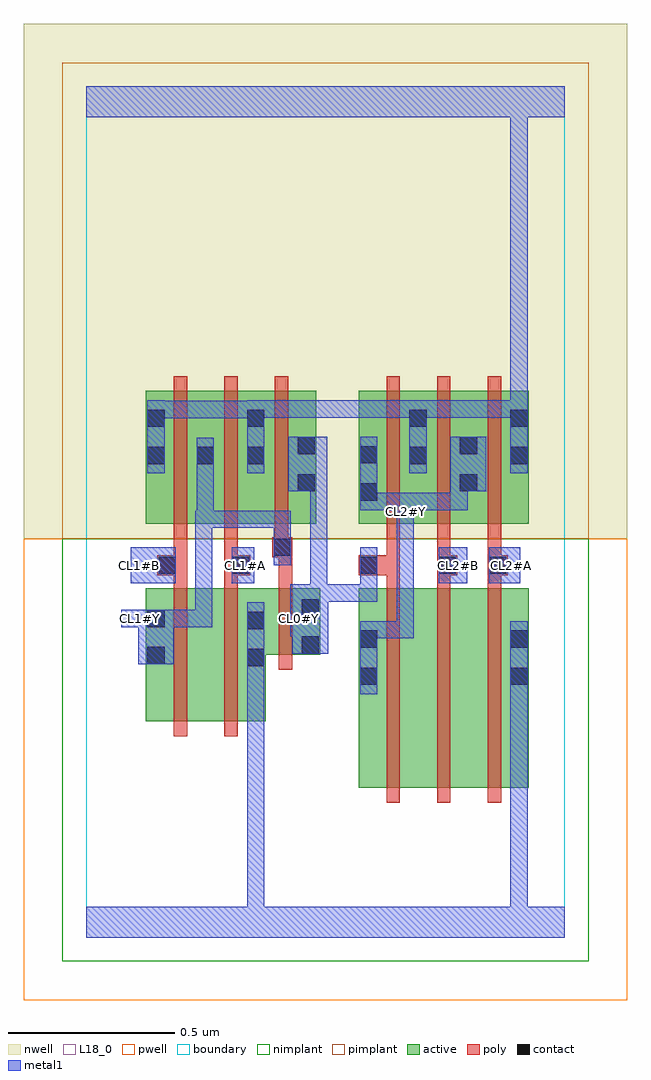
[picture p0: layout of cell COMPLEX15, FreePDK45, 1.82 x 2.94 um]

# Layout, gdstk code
import gdstk
lib = gdstk.Library(unit=1e-6, precision=1e-09)
def R(c, l, rs):  # rectangles x0, y0, x1, y1
    for r in rs: c.add(gdstk.rectangle(r[:2], r[2:], *l))
def A(c, l, x, y, w, h, nx, ny, dx, dy):  # array of equal rectangles
    R(c, l, [(x+i*dx, y+j*dy, x+i*dx+w, y+j*dy+h) for i in range(nx) for j in range(ny)])
active = (1, 0)
pwell = (2, 0)
nwell = (3, 0)
nimplant = (4, 0)
pimplant = (5, 0)
poly = (9, 0)
contact = (10, 0)
metal1 = (11, 0)
L18_0 = (18, 0)
boundary = (235, 0)

complex15 = lib.new_cell('COMPLEX15')
A(complex15, active, 0.328, 1.244, 0.06, 0.4, 3, 1, 0.152, 0)
R(complex15, active, [(0.82,0.45,1,1.05), (1,0.45,1.152,1.05), (1.152,0.45,1.332,1.05), (1.272,0.45,1.332,1.05), (0.82,0.556,0.88,1.05), (0.18,0.65,0.24,1.05), (0.18,0.65,0.36,1.05), (0.36,0.65,0.54,1.05), (0.48,0.65,0.54,1.05), (0.48,0.85,0.704,1.05), (0.644,0.85,0.704,1.05), (0.18,1.244,0.24,1.644), (0.18,1.244,0.388,1.644), (0.328,1.244,0.54,1.644), (0.48,1.244,0.692,1.644), (0.82,1.244,0.88,1.644), (0.82,1.244,1.028,1.644), (0.968,1.244,1.18,1.644), (1.12,1.244,1.18,1.644), (1.12,1.244,1.332,1.644), (1.272,1.244,1.332,1.644), (0.968,1.42,1.028,1.644)])
R(complex15, pwell, [(-0.188,-0.188,1.628,1.2)])
R(complex15, nwell, [(-0.188,1.2,1.628,2.748)])
R(complex15, nimplant, [(-0.072,-0.072,1.512,1.2)])
R(complex15, pimplant, [(-0.072,1.2,1.512,2.632)])
A(complex15, poly, 0.904, 0.406, 0.04, 0.688, 3, 1, 0.152, 0)
A(complex15, poly, 0.904, 1.054, 0.04, 0.076, 3, 1, 0.152, 0)
A(complex15, poly, 0.904, 1.11, 0.04, 0.13, 3, 1, 0.152, 0)
A(complex15, poly, 0.264, 1.2, 0.04, 0.488, 3, 1, 0.152, 0)
A(complex15, poly, 0.904, 1.2, 0.04, 0.488, 3, 1, 0.152, 0)
R(complex15, poly, [(0.264,0.606,0.304,1.094), (0.416,0.606,0.456,1.094), (0.58,0.806,0.62,1.094), (0.264,1.054,0.304,1.13), (0.416,1.054,0.456,1.13), (0.58,1.054,0.62,1.184), (0.214,1.09,0.304,1.15), (0.264,1.09,0.304,1.13), (0.264,1.09,0.304,1.13), (0.416,1.09,0.494,1.15), (0.82,1.09,0.944,1.15), (1.056,1.09,1.116,1.15), (1.208,1.09,1.248,1.13), (1.208,1.09,1.248,1.13), (1.208,1.09,1.268,1.15), (0.264,1.11,0.304,1.24), (0.416,1.11,0.456,1.24), (0.416,1.11,0.456,1.15), (0.416,1.11,0.456,1.15), (0.904,1.11,0.944,1.15), (0.904,1.11,0.944,1.15), (1.056,1.11,1.096,1.15), (1.056,1.11,1.096,1.15), (0.56,1.144,0.62,1.204), (0.58,1.144,0.62,1.184), (0.58,1.144,0.62,1.184), (0.568,1.164,0.608,1.24)])
R(complex15, contact, [(0.824,0.76,0.876,0.812), (1.276,0.76,1.328,0.812), (0.484,0.816,0.536,0.868), (0.184,0.822,0.236,0.874), (0.648,0.854,0.7,0.906), (0.824,0.872,0.876,0.924), (1.276,0.872,1.328,0.924), (0.484,0.928,0.536,0.98), (0.184,0.934,0.236,0.986), (0.648,0.966,0.7,1.018), (0.218,1.094,0.27,1.146), (0.438,1.094,0.49,1.146), (0.824,1.094,0.876,1.146), (1.06,1.094,1.112,1.146), (1.212,1.094,1.264,1.146), (0.564,1.148,0.616,1.2), (0.824,1.314,0.876,1.366), (0.636,1.342,0.688,1.394), (1.124,1.342,1.176,1.394), (0.184,1.424,0.236,1.476), (0.332,1.424,0.384,1.476), (0.484,1.424,0.536,1.476), (0.972,1.424,1.024,1.476), (1.276,1.424,1.328,1.476), (0.824,1.426,0.876,1.478), (0.636,1.454,0.688,1.506), (1.124,1.454,1.176,1.506), (0.184,1.536,0.236,1.588), (0.484,1.536,0.536,1.588), (0.972,1.536,1.024,1.588), (1.276,1.536,1.328,1.588)])
R(complex15, metal1, [(0,0,1.44,0.092), (0.484,0.04,0.536,0.092), (0.484,0.04,0.536,0.092), (0.484,0.04,0.536,0.092), (0.484,0.04,0.536,0.092), (0.484,0.04,0.536,0.092), (0.484,0.04,0.536,0.092), (0.484,0.04,0.536,0.092), (0.484,0.04,0.536,0.092), (0.484,0.04,0.536,0.092), (0.484,0.04,0.536,0.092), (0.484,0.04,0.536,0.092), (0.484,0.04,0.536,0.092), (0.484,0.04,0.536,0.84), (1.276,0.04,1.328,0.784), (0.824,0.732,0.876,0.952), (1.276,0.732,1.328,0.784), (1.276,0.732,1.328,0.784), (1.276,0.732,1.328,0.784), (1.276,0.732,1.328,0.784), (1.276,0.732,1.328,0.784), (1.276,0.732,1.328,0.784), (1.276,0.732,1.328,0.784), (1.276,0.732,1.328,0.784), (1.276,0.732,1.328,0.952), (0.484,0.788,0.536,1.008), (0.156,0.822,0.264,0.986), (0.62,0.854,0.728,1.018), (0.824,0.9,0.876,0.952), (0.824,0.9,0.876,0.952), (0.824,0.9,0.986,0.952), (0.934,0.9,0.986,0.952), (0.934,0.9,0.986,1.278), (0.614,0.906,0.726,1.062), (0.106,0.934,0.214,0.986), (0.162,0.934,0.214,0.986), (0.162,0.934,0.38,0.986), (0.328,0.934,0.38,0.986), (0.328,0.934,0.38,0.986), (0.328,0.934,0.38,0.986), (0.328,0.934,0.38,1.284), (0.674,0.966,0.726,1.018), (0.674,1.01,0.726,1.062), (0.674,1.01,0.726,1.062), (0.674,1.01,0.876,1.062), (0.674,1.01,0.726,1.394), (0.824,1.01,0.876,1.118), (0.134,1.066,0.27,1.174), (0.438,1.066,0.506,1.174), (0.824,1.066,0.876,1.118), (0.824,1.066,0.876,1.174), (1.06,1.066,1.146,1.174), (1.212,1.066,1.306,1.174), (0.564,1.12,0.616,1.284), (0.934,1.226,0.986,1.338), (0.328,1.232,0.384,1.284), (0.332,1.232,0.506,1.284), (0.332,1.232,0.384,1.448), (0.454,1.232,0.506,1.284), (0.454,1.232,0.506,1.284), (0.454,1.232,0.506,1.284), (0.454,1.232,0.616,1.284), (0.824,1.286,0.876,1.338), (0.824,1.286,0.876,1.338), (0.824,1.286,0.876,1.506), (0.824,1.286,0.986,1.338), (0.934,1.286,0.986,1.338), (0.934,1.286,0.986,1.338), (0.934,1.286,0.986,1.338), (0.934,1.286,0.986,1.338), (0.934,1.286,1.148,1.338), (1.096,1.286,1.148,1.394), (0.608,1.342,0.726,1.506), (1.096,1.342,1.148,1.394), (1.096,1.342,1.204,1.506), (0.184,1.396,0.236,1.616), (0.332,1.396,0.384,1.504), (0.484,1.396,0.536,1.616), (0.972,1.396,1.024,1.616), (1.276,1.396,1.328,1.616), (0.184,1.562,0.236,1.614), (0.184,1.562,0.236,1.614), (0.184,1.562,0.396,1.614), (0.344,1.562,0.396,1.614), (0.344,1.562,0.506,1.614), (0.454,1.562,0.506,1.614), (0.454,1.562,0.536,1.614), (0.484,1.564,0.728,1.616), (0.676,1.564,0.728,1.616), (0.676,1.564,0.728,1.616), (0.676,1.564,0.728,1.616), (0.676,1.564,0.838,1.616), (0.786,1.564,0.838,1.616), (0.786,1.564,0.838,1.616), (0.786,1.564,0.838,1.616), (0.786,1.564,1.024,1.616), (0.972,1.564,1.134,1.616), (1.082,1.564,1.134,1.616), (1.082,1.564,1.134,1.616), (1.082,1.564,1.134,1.616), (1.082,1.564,1.328,1.616), (1.276,1.564,1.328,1.616), (1.276,1.564,1.328,1.616), (1.276,1.564,1.328,1.616), (1.276,1.564,1.328,1.616), (1.276,1.564,1.328,1.616), (1.276,1.564,1.328,1.616), (1.276,1.564,1.328,1.616), (1.276,1.564,1.328,1.616), (1.276,1.564,1.328,1.616), (1.276,1.564,1.328,1.616), (1.276,1.564,1.328,1.616), (1.276,1.564,1.328,1.616), (1.276,1.564,1.328,2.52), (0,2.468,1.44,2.56), (1.276,2.468,1.328,2.52), (1.276,2.468,1.328,2.52), (1.276,2.468,1.328,2.52), (1.276,2.468,1.328,2.52), (1.276,2.468,1.328,2.52), (1.276,2.468,1.328,2.52)])
R(complex15, L18_0, [(0,0,1.44,0.092), (0.484,0.04,0.536,0.092), (0.484,0.04,0.536,0.092), (0.484,0.04,0.536,0.092), (0.484,0.04,0.536,0.092), (0.484,0.04,0.536,0.092), (0.484,0.04,0.536,0.092), (0.484,0.04,0.536,0.092), (0.484,0.04,0.536,0.092), (0.484,0.04,0.536,0.092), (0.484,0.04,0.536,0.092), (0.484,0.04,0.536,0.092), (0.484,0.04,0.536,0.092), (0.484,0.04,0.536,0.84), (1.276,0.04,1.328,0.784), (0.824,0.732,0.876,0.952), (1.276,0.732,1.328,0.784), (1.276,0.732,1.328,0.784), (1.276,0.732,1.328,0.784), (1.276,0.732,1.328,0.784), (1.276,0.732,1.328,0.784), (1.276,0.732,1.328,0.784), (1.276,0.732,1.328,0.784), (1.276,0.732,1.328,0.784), (1.276,0.732,1.328,0.952), (0.484,0.788,0.536,1.008), (0.156,0.822,0.264,0.986), (0.62,0.854,0.728,1.018), (0.824,0.9,0.876,0.952), (0.824,0.9,0.876,0.952), (0.824,0.9,0.986,0.952), (0.934,0.9,0.986,0.952), (0.934,0.9,0.986,1.278), (0.614,0.906,0.726,1.062), (0.106,0.934,0.214,0.986), (0.134,0.934,0.186,0.986), (0.162,0.934,0.214,0.986), (0.162,0.934,0.38,0.986), (0.328,0.934,0.38,0.986), (0.328,0.934,0.38,0.986), (0.328,0.934,0.38,0.986), (0.328,0.934,0.38,1.284), (0.614,0.934,0.666,0.986), (0.674,0.966,0.726,1.018), (0.674,1.01,0.726,1.062), (0.674,1.01,0.726,1.062), (0.674,1.01,0.726,1.394), (0.674,1.01,0.876,1.062), (0.824,1.01,0.876,1.118), (0.134,1.066,0.27,1.174), (0.438,1.066,0.506,1.174), (0.824,1.066,0.876,1.118), (0.824,1.066,0.876,1.174), (1.06,1.066,1.146,1.174), (1.212,1.066,1.306,1.174), (0.134,1.094,0.186,1.146), (0.454,1.094,0.506,1.146), (1.094,1.094,1.146,1.146), (1.254,1.094,1.306,1.146), (0.564,1.12,0.616,1.284), (0.934,1.226,0.986,1.338), (0.328,1.232,0.384,1.284), (0.332,1.232,0.384,1.448), (0.332,1.232,0.506,1.284), (0.454,1.232,0.506,1.284), (0.454,1.232,0.506,1.284), (0.454,1.232,0.506,1.284), (0.454,1.232,0.616,1.284), (0.934,1.254,0.986,1.306), (0.824,1.286,0.876,1.338), (0.824,1.286,0.876,1.338), (0.824,1.286,0.876,1.506), (0.824,1.286,0.986,1.338), (0.934,1.286,0.986,1.338), (0.934,1.286,0.986,1.338), (0.934,1.286,0.986,1.338), (0.934,1.286,0.986,1.338), (0.934,1.286,1.148,1.338), (1.096,1.286,1.148,1.394), (0.608,1.342,0.726,1.506), (1.096,1.342,1.204,1.506), (1.096,1.342,1.148,1.394), (0.184,1.396,0.236,1.616), (0.332,1.396,0.384,1.504), (0.484,1.396,0.536,1.616), (0.972,1.396,1.024,1.616), (1.276,1.396,1.328,1.616), (0.184,1.562,0.236,1.614), (0.184,1.562,0.236,1.614), (0.184,1.562,0.396,1.614), (0.344,1.562,0.396,1.614), (0.344,1.562,0.506,1.614), (0.454,1.562,0.506,1.614), (0.454,1.562,0.536,1.614), (0.484,1.564,0.728,1.616), (0.676,1.564,0.728,1.616), (0.676,1.564,0.728,1.616), (0.676,1.564,0.728,1.616), (0.676,1.564,0.838,1.616), (0.786,1.564,0.838,1.616), (0.786,1.564,0.838,1.616), (0.786,1.564,0.838,1.616), (0.786,1.564,1.024,1.616), (0.972,1.564,1.134,1.616), (1.082,1.564,1.134,1.616), (1.082,1.564,1.134,1.616), (1.082,1.564,1.134,1.616), (1.082,1.564,1.328,1.616), (1.276,1.564,1.328,1.616), (1.276,1.564,1.328,1.616), (1.276,1.564,1.328,1.616), (1.276,1.564,1.328,1.616), (1.276,1.564,1.328,1.616), (1.276,1.564,1.328,1.616), (1.276,1.564,1.328,1.616), (1.276,1.564,1.328,1.616), (1.276,1.564,1.328,1.616), (1.276,1.564,1.328,1.616), (1.276,1.564,1.328,1.616), (1.276,1.564,1.328,1.616), (1.276,1.564,1.328,2.52), (0,2.468,1.44,2.56), (1.276,2.468,1.328,2.52), (1.276,2.468,1.328,2.52), (1.276,2.468,1.328,2.52), (1.276,2.468,1.328,2.52), (1.276,2.468,1.328,2.52), (1.276,2.468,1.328,2.52)])
R(complex15, boundary, [(0,0,1.44,2.56)])
complex15.add(gdstk.Label('CL0#Y', (0.64,0.96), layer=11, texttype=0))
complex15.add(gdstk.Label('CL1#A', (0.48,1.12), layer=11, texttype=0))
complex15.add(gdstk.Label('CL1#B', (0.16,1.12), layer=11, texttype=0))
complex15.add(gdstk.Label('CL1#Y', (0.16,0.96), layer=11, texttype=0))
complex15.add(gdstk.Label('CL2#A', (1.28,1.12), layer=11, texttype=0))
complex15.add(gdstk.Label('CL2#B', (1.12,1.12), layer=11, texttype=0))
complex15.add(gdstk.Label('CL2#Y', (0.96,1.28), layer=11, texttype=0))

lib.write_gds('COMPLEX15.gds')
